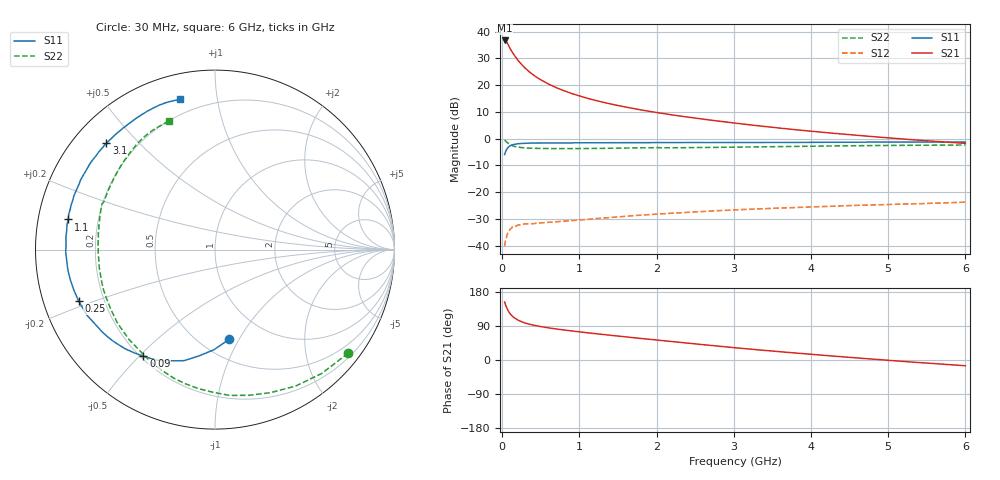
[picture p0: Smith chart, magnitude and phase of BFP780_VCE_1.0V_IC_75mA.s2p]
! Infineon Technologies  Discrete & RF Semiconductors
! BFP780
! VCE =  1.0 V,  IC =  75 mA
! Common Emitter S-Parameters:  Jul 2015
# GHz  S  MA  R  50
!  f  S11  S21  S12  S22
! GHz  MAG  ANG  MAG  ANG  MAG  ANG  MAG  ANG
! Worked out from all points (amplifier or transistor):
!   75 points, 30 MHz to 6 GHz, reference 50 ohm
!   highest |S21| = 36.7 dB at 30 MHz (marker M1)
!   |S21| within 3 dB of that: start of sweep to 101.1 MHz
!   unconditionally stable (mu >= 1): 1.787 GHz to end of sweep
!   at 150 MHz: K = 0.13, MSG = 32.3 dB, |S12| = -33.2 dB
!   at 2.3 GHz: K = 1.12, MAG = 16.0 dB, |S12| = -27.7 dB
!   at 6 GHz: K = 1.53, MAG = 6.7 dB, |S12| = -23.7 dB
!   S11 on the Smith chart (normalised r, x): 30 MHz: 0.68, -0.91; 90 MHz: 0.21, -0.51; 250 MHz: 0.11, -0.18; 1.1 GHz: 0.09, +0.10; 3.1 GHz: 0.10, +0.40; 6 GHz: 0.12, +0.78
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0.03  0.5052 -80.8  68.12 153.0  0.0098 68.0  0.9402 -37.9
0.04  0.5578 -90.6  67.19 146.9  0.0122 61.9  0.9107 -49.3
0.05  0.5981 -98.4  65.45 141.5  0.0133 56.8  0.8833 -59.4
0.06  0.6425 -105.6  62.64 136.8  0.0158 50.3  0.8551 -68.7
0.07  0.6698 -112.3  59.05 132.5  0.017 47.5  0.8337 -76.8
0.09  0.7158 -123.9  51.67 125.2  0.0187 38.8  0.7946 -91.0
0.11  0.7457 -132.3  45.78 119.8  0.0208 37.2  0.7645 -102.9
0.12  0.7557 -135.7  43.33 117.6  0.0213 36.1  0.7521 -107.8
0.15  0.7776 -143.6  37.16 112.3  0.022 29.1  0.7206 -119.8
0.2  0.8017 -152.9  29.41 105.7  0.0242 25.6  0.6933 -133.7
0.25  0.8121 -159.4  24.24 100.9  0.025 22.4  0.6801 -143.3
0.3  0.8184 -164.2  20.45 97.3  0.0256 21.2  0.6689 -150.3
0.35  0.8229 -167.9  17.67 94.5  0.0256 20.4  0.6631 -155.7
0.5  0.8283 -175.5  12.51 88.1  0.0267 19.2  0.654 -166.4
0.7  0.8303 177.8  8.949 81.8  0.028 19.9  0.65 -175.1
1.1  0.8347 168.4  5.679 71.9  0.0309 21.9  0.6533 173.9
1.5  0.8385 160.9  4.147 63.2  0.0345 22.9  0.6628 166.2
2.1  0.843 151.0  2.917 50.7  0.0396 22.9  0.6739 156.7
3.1  0.8466 135.6  1.885 30.8  0.0473 19.0  0.6951 141.5
4.1  0.8519 122.0  1.334 13.4  0.0535 14.3  0.7228 129.3
5.1  0.8629 111.1  1.008 -2.3  0.0595 8.9  0.7471 119.0
6  0.8597 103.3  0.816 -15.2  0.065 4.0  0.7602 109.9
